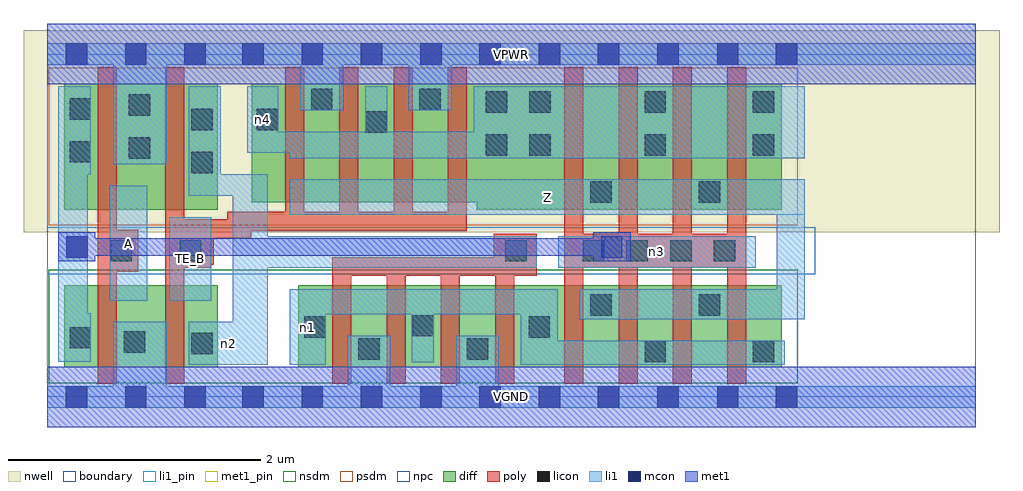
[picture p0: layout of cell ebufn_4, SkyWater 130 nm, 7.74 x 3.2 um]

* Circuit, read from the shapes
.subckt ebufn_4 A TE_B VGND VPWR Z n1 n2 n3 n4
XM1 VGND A n3 VSUBS sky130_fd_pr__nfet_01v8 w=0.65 l=0.15
XM2 n2 TE_B VGND VSUBS sky130_fd_pr__nfet_01v8 w=0.65 l=0.15
XM3 VGND n2 n1 VSUBS sky130_fd_pr__nfet_01v8 w=0.65 l=0.15 m=4
XM4 Z n3 n1 VSUBS sky130_fd_pr__nfet_01v8 w=0.65 l=0.15 m=4
XM5 VPWR A n3 n5 sky130_fd_pr__pfet_01v8 w=1 l=0.15
XM6 n2 TE_B VPWR n5 sky130_fd_pr__pfet_01v8 w=1 l=0.15
XM7 VPWR TE_B n4 n5 sky130_fd_pr__pfet_01v8 w=0.94 l=0.15 m=4
XM8 Z n3 n4 n5 sky130_fd_pr__pfet_01v8 w=1 l=0.15 m=4
.ends

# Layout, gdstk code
import gdstk
lib = gdstk.Library(unit=1e-6, precision=1e-09)
def R(c, l, rs):  # rectangles x0, y0, x1, y1
    for r in rs: c.add(gdstk.rectangle(r[:2], r[2:], *l))
def A(c, l, x, y, w, h, nx, ny, dx, dy):  # array of equal rectangles
    R(c, l, [(x+i*dx, y+j*dy, x+i*dx+w, y+j*dy+h) for i in range(nx) for j in range(ny)])
nwell = (64, 20)
diff = (65, 20)
poly = (66, 20)
licon = (66, 44)
li1_pin = (67, 16)
li1 = (67, 20)
mcon = (67, 44)
met1_pin = (68, 16)
met1 = (68, 20)
nsdm = (93, 44)
psdm = (94, 20)
npc = (95, 20)
boundary = (235, 4)

ebufn_4 = lib.new_cell('ebufn_4')
R(ebufn_4, nwell, [(-0.19,1.305,7.55,2.91), (0,1.305,7.36,2.91)])
R(ebufn_4, diff, [(0.135,0.235,1.35,0.885), (1.99,0.235,5.825,0.885), (0.135,1.485,1.35,2.485), (3.405,1.485,5.825,2.485), (1.62,1.545,5.825,2.485)])
A(ebufn_4, poly, 2.26, 0.105, 0.15, 1.005, 3, 1, 0.43, 0)
A(ebufn_4, poly, 4.1, 0.105, 0.15, 2.51, 4, 1, 0.43, 0)
A(ebufn_4, poly, 1.885, 1.32, 0.15, 1.295, 4, 1, 0.43, 0)
R(ebufn_4, poly, [(0.4,0.105,0.55,2.615), (0.935,0.105,1.085,2.615), (3.55,0.105,3.7,1.295), (2.26,0.96,3.88,1.11), (3.54,0.96,3.88,1.295), (0.4,0.995,0.72,1.325), (0.935,1.025,1.3,1.41), (4.1,1.025,5.54,1.295), (0.935,1.05,1.32,1.41), (0.935,1.26,1.615,1.41), (1.425,1.32,3.325,1.47)])
R(ebufn_4, licon, [(4.735,0.275,4.905,0.445), (5.595,0.275,5.765,0.445), (2.465,0.295,2.635,0.465), (3.325,0.295,3.495,0.465), (1.14,0.34,1.31,0.51), (0.605,0.35,0.775,0.52), (0.175,0.385,0.345,0.555), (2.035,0.47,2.205,0.64), (3.815,0.47,3.985,0.64), (2.895,0.48,3.065,0.65), (4.305,0.645,4.475,0.815), (5.165,0.645,5.335,0.815), (0.5,1.075,0.67,1.245), (1.05,1.075,1.22,1.245), (3.63,1.075,3.8,1.245), (4.245,1.075,4.415,1.245), (4.59,1.075,4.76,1.245), (4.94,1.075,5.11,1.245), (5.285,1.075,5.455,1.245), (4.305,1.54,4.475,1.71), (5.165,1.54,5.335,1.71), (1.14,1.775,1.31,1.945), (0.175,1.86,0.345,2.03), (0.645,1.89,0.815,2.06), (3.475,1.915,3.645,2.085), (3.82,1.915,3.99,2.085), (4.735,1.915,4.905,2.085), (5.595,1.915,5.765,2.085), (2.52,2.095,2.69,2.265), (1.14,2.115,1.31,2.285), (1.66,2.115,1.83,2.285), (0.175,2.2,0.345,2.37), (0.645,2.23,0.815,2.4), (3.475,2.255,3.645,2.425), (3.82,2.255,3.99,2.425), (4.735,2.255,4.905,2.425), (5.595,2.255,5.765,2.425), (2.09,2.275,2.26,2.445), (2.95,2.275,3.12,2.445)])
R(ebufn_4, li1_pin, [(0.495,0.765,0.79,1.675), (0.965,0.765,1.3,1.425), (1.92,1.445,6.005,1.725)])
R(ebufn_4, li1, [(0,-0.085,7.36,0.085), (0.52,-0.085,0.945,0.595), (2.38,-0.085,2.72,0.485), (3.24,-0.085,3.58,0.485), (1.12,0.255,1.745,0.595), (1.47,0.255,1.745,1.765), (1.92,0.255,2.205,0.855), (3.755,0.255,5.845,0.445), (3.755,0.255,4.045,0.855), (2.89,0.275,3.065,0.855), (0.085,0.28,0.32,2.465), (0.085,0.28,0.345,0.665), (4.22,0.615,6.005,0.855), (5.785,0.615,6.005,1.725), (1.92,0.655,4.045,0.855), (0.495,0.765,0.79,1.675), (0.965,0.765,1.3,1.425), (1.47,1.025,3.88,1.275), (4.05,1.025,5.615,1.275), (1.92,1.445,6.005,1.725), (1.12,1.595,1.375,2.465), (1.12,1.595,1.745,1.765), (0.085,1.765,0.345,2.465), (0.52,1.845,0.945,2.805), (1.92,1.895,6.005,2.105), (2.52,1.895,2.695,2.465), (3.38,1.895,6.005,2.465), (1.585,1.935,1.83,2.465), (1.585,1.935,6.005,2.105), (2.005,2.275,2.345,2.805), (2.865,2.275,3.205,2.805), (0,2.635,7.36,2.805)])
A(ebufn_4, mcon, 0.145, -0.085, 0.17, 0.17, 3, 2, 0.47, 2.72)
A(ebufn_4, mcon, 1.545, -0.085, 0.17, 0.17, 8, 2, 0.47, 2.72)
R(ebufn_4, mcon, [(5.31,-0.085,5.48,0.085), (5.775,-0.085,5.945,0.085), (0.15,1.105,0.32,1.275), (4.39,1.105,4.56,1.275), (5.31,2.635,5.48,2.805), (5.775,2.635,5.945,2.805)])
R(ebufn_4, met1_pin, [(0,-0.24,7.36,0.24), (0,2.48,7.36,2.96)])
R(ebufn_4, met1, [(0,-0.24,7.36,0.24), (0.085,1.075,0.38,1.305), (4.33,1.075,4.625,1.305), (0.085,1.12,4.625,1.26), (0,2.48,7.36,2.96)])
R(ebufn_4, nsdm, [(0.01,0.11,5.95,1.01)])
R(ebufn_4, psdm, [(0.01,1.36,5.95,2.61)])
R(ebufn_4, npc, [(0,0.975,6.09,1.345)])
R(ebufn_4, boundary, [(0,0,7.36,2.72)])
ebufn_4.add(gdstk.Label('A', (0.642,1.22), layer=67, texttype=5))
ebufn_4.add(gdstk.Label('TE_B', (1.132,1.095), layer=67, texttype=5))
ebufn_4.add(gdstk.Label('Z', (3.962,1.585), layer=67, texttype=5))
ebufn_4.add(gdstk.Label('n1', (2.062,0.555), layer=67, texttype=5))
ebufn_4.add(gdstk.Label('n3', (4.832,1.15), layer=67, texttype=5))
ebufn_4.add(gdstk.Label('n2', (1.432,0.425), layer=67, texttype=5))
ebufn_4.add(gdstk.Label('n4', (1.707,2.2), layer=67, texttype=5))
ebufn_4.add(gdstk.Label('VPWR', (3.68,2.72), layer=68, texttype=5))
ebufn_4.add(gdstk.Label('VGND', (3.68,0), layer=68, texttype=5))
ebufn_4.add(gdstk.Label('A', (0.642,1.22), layer=67, texttype=16))
ebufn_4.add(gdstk.Label('TE_B', (1.132,1.095), layer=67, texttype=16))
ebufn_4.add(gdstk.Label('Z', (3.962,1.585), layer=67, texttype=16))
ebufn_4.add(gdstk.Label('VPWR', (3.68,2.72), layer=68, texttype=16))
ebufn_4.add(gdstk.Label('VGND', (3.68,0), layer=68, texttype=16))

lib.write_gds('ebufn_4.gds')
